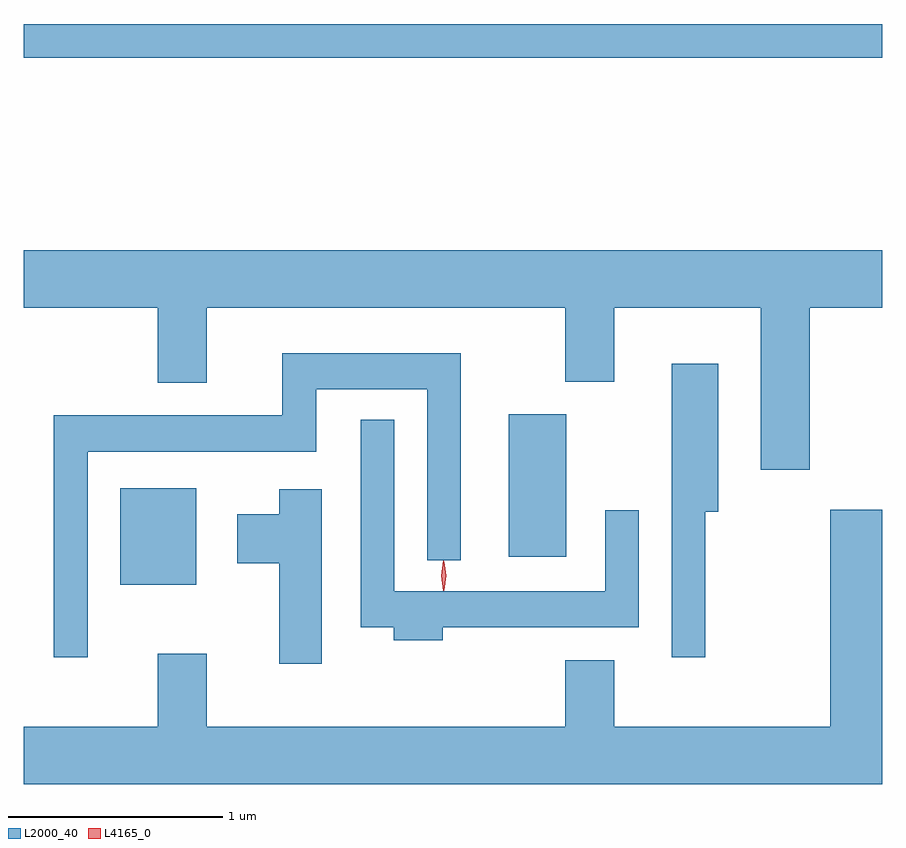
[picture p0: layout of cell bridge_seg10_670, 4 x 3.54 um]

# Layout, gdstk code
import gdstk
lib = gdstk.Library(unit=1e-6, precision=1e-09)
def R(c, l, rs):  # rectangles x0, y0, x1, y1
    for r in rs: c.add(gdstk.rectangle(r[:2], r[2:], *l))
def P(c, l, *ps):  # polygons
    for p in ps: c.add(gdstk.Polygon(p, *l))
L2000_40 = (2000, 40)
L4165_0 = (4165, 0)

bridge_seg10_670 = lib.new_cell('bridge_seg10_670')
R(bridge_seg10_670, L2000_40, [(1024.116,2103.746,1024.469,2104.194), (1025.926,2103.876,1026.194,2104.539), (1023.667,2106.201,1027.667,2106.359)])
P(bridge_seg10_670, L2000_40, [(1027.329,2105.036),(1027.667,2105.036),(1027.667,2105.304),(1023.667,2105.304),(1023.667,2105.036),(1024.291,2105.036),(1024.291,2104.686),(1024.519,2104.686),(1024.519,2105.036),(1026.191,2105.036),(1026.191,2104.691),(1026.419,2104.691),(1026.419,2105.036),(1027.101,2105.036),(1027.101,2104.281),(1027.329,2104.281)],
  [(1023.964,2104.366),(1025.029,2104.366),(1025.029,2104.656),(1025.546,2104.656),(1025.546,2103.858),(1025.704,2103.858),(1025.704,2104.824),(1024.871,2104.824),(1024.871,2104.534),(1023.806,2104.534),(1023.806,2103.408),(1023.964,2103.408)],
  [(1026.844,2104.086),(1026.904,2104.086),(1026.904,2104.774),(1026.686,2104.774),(1026.686,2103.408),(1026.844,2103.408)],
  [(1025.619,2103.546),(1026.534,2103.546),(1026.534,2104.093),(1026.376,2104.093),(1026.376,2103.714),(1025.394,2103.714),(1025.394,2104.513),(1025.236,2104.513),(1025.236,2103.546),(1025.391,2103.546),(1025.391,2103.486),(1025.619,2103.486)],
  [(1025.054,2104.189),(1024.856,2104.189),(1024.856,2104.074),(1024.661,2104.074),(1024.661,2103.846),(1024.856,2103.846),(1024.856,2103.376),(1025.054,2103.376)],
  [(1027.667,2104.094),(1027.426,2104.094),(1027.426,2103.084),(1026.419,2103.084),(1026.419,2103.394),(1026.191,2103.394),(1026.191,2103.084),(1024.519,2103.084),(1024.519,2103.424),(1024.291,2103.424),(1024.291,2103.084),(1023.667,2103.084),(1023.667,2102.816),(1027.667,2102.816)])
P(bridge_seg10_670, L4165_0, [(1025.625,2103.719),(1025.625,2103.72),(1025.615,2103.786),(1025.625,2103.852),(1025.625,2103.853),(1025.626,2103.852),(1025.635,2103.786),(1025.626,2103.72)],
  [(1025.623,2103.717),(1025.622,2103.718),(1025.613,2103.787),(1025.622,2103.856),(1025.623,2103.856),(1025.623,2103.856),(1025.633,2103.787),(1025.623,2103.718)])

lib.write_gds('bridge_seg10_670.gds')
